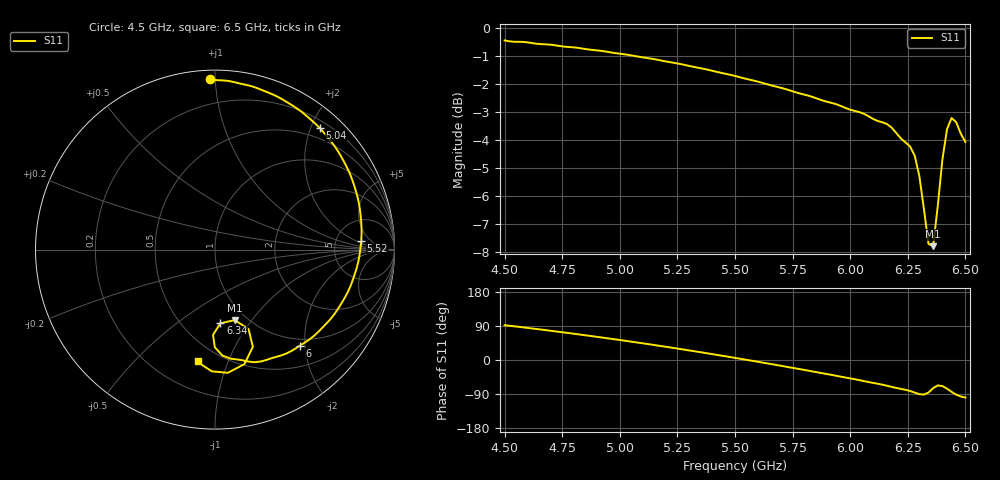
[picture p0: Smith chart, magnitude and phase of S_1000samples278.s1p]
! TOUCHSTONE file generated by CST MICROWAVE STUDIO
! Date and time: Thu Oct 27 14:51:15 2022
! Project name: L.cst
! Parameters = {Di=1.27; Epsilon_r=1.56; InnerDiameter=1.27; Length=2; Lf=10; Lg=60; OuterConductorThickness=0.2921; OuterDiameter=3.6; Wf=3; Wp=41.2; de=1.5; df=6.8; g=0.8; gx=1.67401; gy=3.97939; h=2.34; hf=1.524; px=9.34127; py=14.1194; w=9.7; wx=7.66726; wy=10.14}
! Header version: 2018
! Port assignment regex: !\s*Touchstone port\s*([0-9]+)\s*=\s*(CST MWS port|CST DS port)\s*([0-9]+|Zmin|Zmax)\s*\(\"(.*)\"\)(\s*mode\s*([0-9]+))?.*
! Touchstone port assignment:
! Touchstone port 1 = CST MWS port 1 ("")
# GHz S DB R 50
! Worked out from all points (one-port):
!   101 points, 4.5 GHz to 6.5 GHz, reference 50 ohm
!   lowest |S11| = -7.8 dB at 6.36 GHz (marker M1), VSWR 2.38, Z = 44.1 - j41.5 ohm
!   |S11| at or under -10 dB: nowhere
!   S11 on the Smith chart (normalised r, x): 4.5 GHz: 0.05, +0.97; 5.04 GHz: 0.32, +2.14; 5.52 GHz: 9.05, +2.72; 6 GHz: 0.87, -1.90; 6.34 GHz: 0.75, -0.74; 6.5 GHz: 0.38, -0.78
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4.5  -0.46 91.8
4.6  -0.52 84.6
4.76  -0.68 72.5
4.9  -0.81 61.2
5  -0.93 52.8
5.04  -0.97 49.3
5.26  -1.29 29.2
5.38  -1.49 17.6
5.5  -1.72 5.6
5.52  -1.76 3.5
5.64  -2.02 -9.0
5.76  -2.29 -21.8
5.86  -2.54 -32.8
6  -2.92 -48.5
6.16  -3.44 -68.0
6.26  -4.24 -81.9
6.28  -4.56 -86.0
6.3  -5.28 -90.1
6.32  -6.47 -91.3
6.34  -7.71 -85.8
6.36  -7.79 -74.3
6.38  -6.36 -67.1
6.4  -4.71 -68.7
6.42  -3.63 -75.6
6.44  -3.22 -84.0
6.46  -3.37 -91.5
6.48  -3.78 -96.3
6.5  -4.07 -99.0
